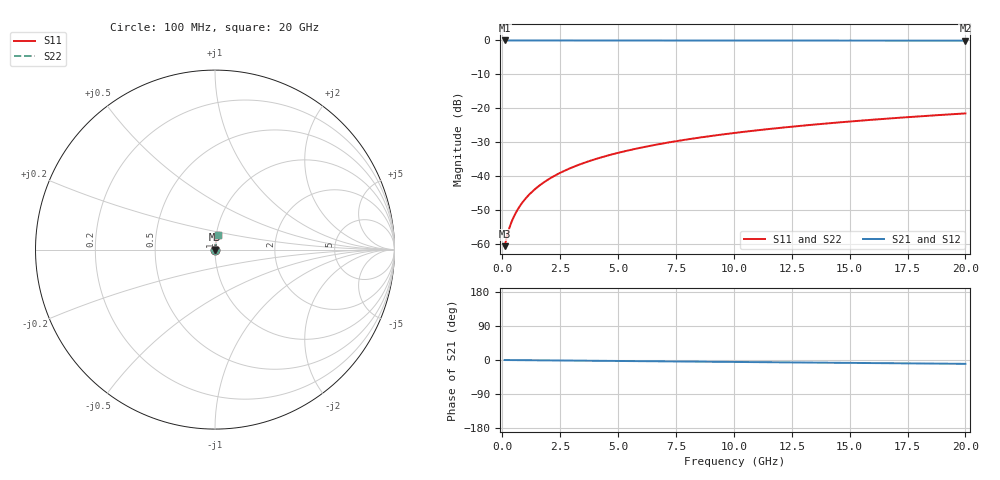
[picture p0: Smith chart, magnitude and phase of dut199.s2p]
! Touchstone file exported from HFSS 2026.1.0
!  File:  C:/ffzhzh/LocalFiles/Ansys_Project_Files/temp_train_TMRDL_199_1782983961_42984.aedt
!  Generated:  05:20:34 PM Jul  2, 2026
!  Design:  TMRDL
!  Project:  temp_train_TMRDL_199_1782983961_42984
! Variables:
!  h_bsmrdl = 2um
!  h_ox = 20um
!  h_rdl = 5um
!  h_sub = 80um
!  h_tmrdl = 3.4um
!  h_tsv = 80um
!  h_via = 3um
!  l_bsmrdl = 300um
!  l_sub = 527.03um
!  l_tmrdl = 127.03um
!  m_sub = 200um
!  pitch = 43.62um
!  r_tsv = 6um
!  s_tmrdl = 10um
!  w_bsmrdl = 18um
!  w_sub = 500um
!  w_tmrdl = 26.47um
!  x_tsv_center1 = 140.265um
!  x_tsv_center2 = 458.265um
!  x_tsv_center3 = 611.765um
!  x_tsv_center4 = 929.765um
!  x_tsv_center5 = 1083.265um
!  x_tsv_center6 = 1401.265um
# GHz S MA R 50.000000
! Terminal data exported
! Port[1] = TM_RDL1_1_T1
! Port[2] = TM_RDL1_1_T2
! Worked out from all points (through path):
!   200 points, 100 MHz to 20 GHz, reference 50 ohm
!   highest |S21| = -0.01 dB at 100 MHz (marker M1); lowest = -0.1 dB at 20 GHz (marker M2)
!   group delay of S21, straight-line fit = 1.4 ps
!   lowest |S11| = -60.8 dB at 100 MHz (marker M3), VSWR 1.00, Z = 50.1 + j0.051 ohm
!   |S11| at or under -10 dB: start of sweep to end of sweep
!   |S22| runs from -60.8 to -21.5 dB; largest |S21 - S12| = 3e-15
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0.1  0.000917 33.8  0.9992 -0.1  0.9992 -0.1  0.000917 33.8
! Gamma 0 0 0 0
! Port Impedance 50 0 50 0
0.2  0.001281 50.9  0.9992 -0.1  0.9992 -0.1  0.001281 50.9
0.3  0.001686 59.4  0.9991 -0.2  0.9991 -0.2  0.001686 59.4
0.4  0.002095 64.6  0.9991 -0.2  0.9991 -0.2  0.002095 64.6
0.5  0.002505 68.1  0.9991 -0.3  0.9991 -0.3  0.002505 68.1
0.6  0.002919 70.8  0.9991 -0.3  0.9991 -0.3  0.002919 70.8
0.8  0.003755 74.5  0.999 -0.4  0.999 -0.4  0.003755 74.5
1.1  0.005031 77.9  0.999 -0.6  0.999 -0.6  0.005031 77.9
1.3  0.00589 79.3  0.999 -0.7  0.999 -0.7  0.00589 79.3
1.6  0.007187 80.8  0.9989 -0.8  0.9989 -0.8  0.007187 80.8
2.1  0.009358 82.2  0.9989 -1.1  0.9989 -1.1  0.009358 82.2
2.7  0.01197 83.0  0.9988 -1.4  0.9988 -1.4  0.01197 83.0
3.5  0.01544 83.5  0.9986 -1.8  0.9986 -1.8  0.01544 83.5
4.2  0.01846 83.6  0.9985 -2.2  0.9985 -2.2  0.01846 83.6
5  0.0219 83.5  0.9983 -2.6  0.9983 -2.6  0.0219 83.5
5.9  0.02574 83.3  0.998 -3.0  0.998 -3.0  0.02574 83.3
6.8  0.02956 83.1  0.9978 -3.5  0.9978 -3.5  0.02956 83.1
8.3  0.03586 82.5  0.9973 -4.3  0.9973 -4.3  0.03586 82.5
10.1  0.04336 81.8  0.9968 -5.2  0.9968 -5.2  0.04336 81.8
13.4  0.05695 80.4  0.9957 -6.8  0.9957 -6.8  0.05695 80.4
16.7  0.07038 79.0  0.9944 -8.5  0.9944 -8.5  0.07038 79.0
20  0.08368 77.5  0.9931 -10.1  0.9931 -10.1  0.08368 77.5
